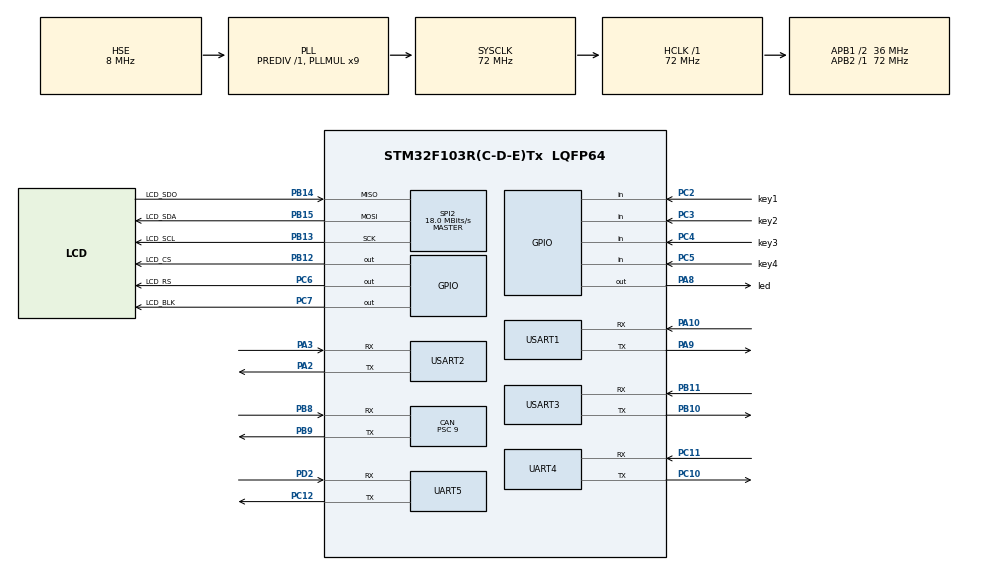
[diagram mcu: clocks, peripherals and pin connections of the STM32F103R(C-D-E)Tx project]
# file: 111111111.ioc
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CAN.BS1=CAN_BS1_4TQ
CAN.BS2=CAN_BS2_3TQ
CAN.CalculateBaudRate=500000
CAN.CalculateTimeBit=2000
CAN.CalculateTimeQuantum=250.0
CAN.NART=ENABLE
CAN.Prescaler=9
Dma.Request0=USART2_RX
Dma.Request1=USART2_TX
Dma.Request2=USART3_RX
Dma.Request3=USART3_TX
Dma.Request4=UART4_RX
Dma.Request5=UART4_TX
Dma.UART4_RX.4.Direction=DMA_PERIPH_TO_MEMORY
Dma.UART4_RX.4.Instance=DMA2_Channel3
Dma.UART4_RX.4.MemDataAlignment=DMA_MDATAALIGN_BYTE
Dma.UART4_RX.4.MemInc=DMA_MINC_ENABLE
Dma.UART4_RX.4.Mode=DMA_NORMAL
Dma.UART4_RX.4.PeriphDataAlignment=DMA_PDATAALIGN_BYTE
Dma.UART4_RX.4.PeriphInc=DMA_PINC_DISABLE
Dma.UART4_RX.4.Priority=DMA_PRIORITY_MEDIUM
Dma.UART4_TX.5.Direction=DMA_MEMORY_TO_PERIPH
Dma.UART4_TX.5.Instance=DMA2_Channel5
Dma.UART4_TX.5.MemDataAlignment=DMA_MDATAALIGN_BYTE
Dma.UART4_TX.5.MemInc=DMA_MINC_ENABLE
Dma.UART4_TX.5.Mode=DMA_NORMAL
Dma.UART4_TX.5.PeriphDataAlignment=DMA_PDATAALIGN_BYTE
Dma.UART4_TX.5.PeriphInc=DMA_PINC_DISABLE
Dma.UART4_TX.5.Priority=DMA_PRIORITY_MEDIUM
Dma.USART2_RX.0.Direction=DMA_PERIPH_TO_MEMORY
Dma.USART2_RX.0.Instance=DMA1_Channel6
Dma.USART2_RX.0.MemDataAlignment=DMA_MDATAALIGN_BYTE
Dma.USART2_RX.0.MemInc=DMA_MINC_ENABLE
Dma.USART2_RX.0.Mode=DMA_NORMAL
Dma.USART2_RX.0.PeriphDataAlignment=DMA_PDATAALIGN_BYTE
Dma.USART2_RX.0.PeriphInc=DMA_PINC_DISABLE
Dma.USART2_RX.0.Priority=DMA_PRIORITY_MEDIUM
Dma.USART2_TX.1.Direction=DMA_MEMORY_TO_PERIPH
Dma.USART2_TX.1.Instance=DMA1_Channel7
Dma.USART2_TX.1.MemDataAlignment=DMA_MDATAALIGN_BYTE
Dma.USART2_TX.1.MemInc=DMA_MINC_ENABLE
Dma.USART2_TX.1.Mode=DMA_NORMAL
Dma.USART2_TX.1.PeriphDataAlignment=DMA_PDATAALIGN_BYTE
Dma.USART2_TX.1.PeriphInc=DMA_PINC_DISABLE
Dma.USART2_TX.1.Priority=DMA_PRIORITY_MEDIUM
Dma.USART3_RX.2.Direction=DMA_PERIPH_TO_MEMORY
Dma.USART3_RX.2.Instance=DMA1_Channel3
Dma.USART3_RX.2.MemDataAlignment=DMA_MDATAALIGN_BYTE
Dma.USART3_RX.2.MemInc=DMA_MINC_ENABLE
Dma.USART3_RX.2.Mode=DMA_NORMAL
Dma.USART3_RX.2.PeriphDataAlignment=DMA_PDATAALIGN_BYTE
Dma.USART3_RX.2.PeriphInc=DMA_PINC_DISABLE
Dma.USART3_RX.2.Priority=DMA_PRIORITY_MEDIUM
Dma.USART3_TX.3.Direction=DMA_MEMORY_TO_PERIPH
Dma.USART3_TX.3.Instance=DMA1_Channel2
Dma.USART3_TX.3.MemDataAlignment=DMA_MDATAALIGN_BYTE
Dma.USART3_TX.3.MemInc=DMA_MINC_ENABLE
Dma.USART3_TX.3.Mode=DMA_NORMAL
Dma.USART3_TX.3.PeriphDataAlignment=DMA_PDATAALIGN_BYTE
Dma.USART3_TX.3.PeriphInc=DMA_PINC_DISABLE
Dma.USART3_TX.3.Priority=DMA_PRIORITY_MEDIUM
Mcu.Family=STM32F1
Mcu.Name=STM32F103R(C-D-E)Tx
Mcu.Package=LQFP64
NVIC.DMA1_Channel2_IRQn=true\:0\:0\:false\:false\:true\:false\:true
NVIC.DMA1_Channel3_IRQn=true\:0\:0\:false\:false\:true\:false\:true
NVIC.DMA1_Channel6_IRQn=true\:0\:0\:false\:false\:true\:false\:true
NVIC.DMA1_Channel7_IRQn=true\:0\:0\:false\:false\:true\:false\:true
NVIC.DMA2_Channel3_IRQn=true\:0\:0\:false\:false\:true\:false\:true
NVIC.DMA2_Channel4_5_IRQn=true\:0\:0\:false\:false\:true\:false\:true
NVIC.PriorityGroup=NVIC_PRIORITYGROUP_4
NVIC.TIM2_IRQn=true\:0\:0\:false\:false\:true\:true\:true
NVIC.TIM3_IRQn=true\:0\:0\:false\:false\:true\:true\:true
NVIC.TIM4_IRQn=true\:0\:0\:false\:false\:true\:true\:true
NVIC.TIM5_IRQn=true\:0\:0\:false\:false\:true\:true\:true
NVIC.TIM6_IRQn=true\:0\:0\:false\:false\:true\:true\:true
NVIC.UART4_IRQn=true\:0\:0\:false\:false\:true\:true\:true
NVIC.UART5_IRQn=true\:0\:0\:false\:false\:true\:true\:true
NVIC.USART1_IRQn=true\:0\:0\:false\:false\:true\:true\:true
NVIC.USART2_IRQn=true\:0\:0\:false\:false\:true\:true\:true
NVIC.USART3_IRQn=true\:0\:0\:false\:false\:true\:true\:true
NVIC.USB_LP_CAN1_RX0_IRQn=true\:0\:0\:false\:false\:true\:true\:true
PA10.Mode=Asynchronous
PA10.Signal=USART1_RX
PA13.Mode=Serial_Wire
PA13.Signal=SYS_JTMS-SWDIO
PA14.Mode=Serial_Wire
PA14.Signal=SYS_JTCK-SWCLK
PA2.Mode=Asynchronous
PA2.Signal=USART2_TX
PA3.Mode=Asynchronous
PA3.Signal=USART2_RX
PA8.GPIO_Label=led
PA8.GPIO_Speed=GPIO_SPEED_FREQ_MEDIUM
PA8.Signal=GPIO_Output
PA9.Mode=Asynchronous
PA9.Signal=USART1_TX
PB10.Mode=Asynchronous
PB10.Signal=USART3_TX
PB11.Mode=Asynchronous
PB11.Signal=USART3_RX
PB12.GPIO_Label=LCD_CS
PB12.Signal=GPIO_Output
PB13.GPIO_Label=LCD_SCL
PB13.Mode=Full_Duplex_Master
PB13.Signal=SPI2_SCK
PB14.GPIO_Label=LCD_SDO
PB14.Mode=Full_Duplex_Master
PB14.Signal=SPI2_MISO
PB15.GPIO_Label=LCD_SDA
PB15.Mode=Full_Duplex_Master
PB15.Signal=SPI2_MOSI
PB8.Mode=CAN_Activate
PB8.Signal=CAN_RX
PB9.Mode=CAN_Activate
PB9.Signal=CAN_TX
PC10.Mode=Asynchronous
PC10.Signal=UART4_TX
PC11.Mode=Asynchronous
PC11.Signal=UART4_RX
PC12.Mode=Asynchronous
PC12.Signal=UART5_TX
PC14-OSC32_IN.Mode=LSE-External-Oscillator
PC14-OSC32_IN.Signal=RCC_OSC32_IN
PC15-OSC32_OUT.Mode=LSE-External-Oscillator
PC15-OSC32_OUT.Signal=RCC_OSC32_OUT
PC2.GPIO_Label=key1
PC2.GPIO_PuPd=GPIO_PULLDOWN
PC2.Signal=GPIO_Input
PC3.GPIO_Label=key2
PC3.GPIO_PuPd=GPIO_PULLDOWN
PC3.Signal=GPIO_Input
PC4.GPIO_Label=key3
PC4.GPIO_PuPd=GPIO_PULLDOWN
PC4.Signal=GPIO_Input
PC5.GPIO_Label=key4
PC5.GPIO_PuPd=GPIO_PULLDOWN
PC5.Signal=GPIO_Input
PC6.GPIO_Label=LCD_RS
PC6.Signal=GPIO_Output
PC7.GPIO_Label=LCD_BLK
PC7.Signal=GPIO_Output
PD0-OSC_IN.Mode=HSE-External-Oscillator
PD0-OSC_IN.Signal=RCC_OSC_IN
PD1-OSC_OUT.Mode=HSE-External-Oscillator
PD1-OSC_OUT.Signal=RCC_OSC_OUT
PD2.Mode=Asynchronous
PD2.Signal=UART5_RX
ProjectManager.HeapSize=0x200
ProjectManager.StackSize=0x400
ProjectManager.TargetToolchain=MDK-ARM V5.27
RCC.AHBFreq_Value=72000000
RCC.APB1CLKDivider=RCC_HCLK_DIV2
RCC.APB1Freq_Value=36000000
RCC.APB1TimFreq_Value=72000000
RCC.APB2Freq_Value=72000000
RCC.APB2TimFreq_Value=72000000
RCC.HCLKFreq_Value=72000000
RCC.PLLMUL=RCC_PLL_MUL9
RCC.PLLSourceVirtual=RCC_PLLSOURCE_HSE
RCC.SYSCLKFreq_VALUE=72000000
RCC.SYSCLKSource=RCC_SYSCLKSOURCE_PLLCLK
RCC.USBFreq_Value=72000000
SPI2.CalculateBaudRate=18.0 MBits/s
SPI2.Direction=SPI_DIRECTION_2LINES
SPI2.Mode=SPI_MODE_MASTER
SPI2.VirtualType=VM_MASTER
TIM2.AutoReloadPreload=TIM_AUTORELOAD_PRELOAD_ENABLE
TIM2.Period=199
TIM2.Prescaler=7199
TIM3.AutoReloadPreload=TIM_AUTORELOAD_PRELOAD_ENABLE
TIM3.Period=499
TIM3.Prescaler=7199
TIM4.AutoReloadPreload=TIM_AUTORELOAD_PRELOAD_ENABLE
TIM4.Period=999
TIM4.Prescaler=7199
TIM5.AutoReloadPreload=TIM_AUTORELOAD_PRELOAD_ENABLE
TIM5.Period=999
TIM5.Prescaler=7199
UART4.VirtualMode=Asynchronous
UART5.VirtualMode=Asynchronous
USART1.VirtualMode=VM_ASYNC
USART2.VirtualMode=VM_ASYNC
USART3.VirtualMode=VM_ASYNC
VP_TIM2_VS_ClockSourceINT.Mode=Internal
VP_TIM3_VS_ClockSourceINT.Mode=Internal
VP_TIM4_VS_ClockSourceINT.Mode=Internal
VP_TIM5_VS_ClockSourceINT.Mode=Internal
VP_TIM6_VS_ClockSourceINT.Mode=Enable_Timer
board=custom

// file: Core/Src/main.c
/* USER CODE BEGIN Header */
/**
  ******************************************************************************
  * @file           : main.c
  * @brief          : Main program body
  ******************************************************************************
  * @attention
  *
  * <h2><center>&copy; Copyright (c) 2022 STMicroelectronics.
  * All rights reserved.</center></h2>
  *
  * This software component is licensed by ST under BSD 3-Clause license,
  * the "License"; You may not use this file except in compliance with the
  * License. You may obtain a copy of the License at:
  *                        opensource.org/licenses/BSD-3-Clause
  *
  ******************************************************************************
  */
/* USER CODE END Header */
#include "main.h"
#include "can.h"
#include "dma.h"
#include "spi.h"
#include "tim.h"
#include "usart.h"
#include "gpio.h"

/* USER CODE BEGIN Includes */
#include "lcd.h"
#include "math.h"
#include "servo.h"   //机械臂所在文件
#include "pid.h"
#include "motor.h"
#include "xunji.h"
#include "Deal.h"
#include "text.h"
/* USER CODE END Includes */

void SystemClock_Config(void);

/* USER CODE BEGIN 0 */
int16_t speed_data[4];   //电机速度存放数组
int16_t speed_data1[4];  //电机速度存放数组
int16_t motor_msg[4];    //电机速度存放数组
int x=0,y=0,yw=0;        //电机xy速度值与旋转分量，用于麦轮解算时输入速度分量

int i=0; 				 //电机速度定义与CAN发送数据的循环变量

int16_t v_back[4]={0};       //CAN线电机返回值，接收电机驱动返回的相对速度
int16_t bianmaqi_back[4];    //编码器返回数组
uint8_t message[7][8]={0};   //can发送数据的存放数组
int ID[4]={0x00210010,0x00220010,0x00230010,0x00240010};  //ID号数组前四位为电机ID号

int servo_x = 120,servo_y = 150,servo_z = 1500,zhua = 0;  //初始机械臂位置
int Three[3] = {0,0,0};                    //储存摄像头传入的物块三维坐标x,y,z
char Color[3]; 											  //物块颜色
uint8_t QR_code_Order[6] = {0,0,0,0,0,0}; 					  //二维码上的抓取顺序（两组顺序，例123+321）
uint8_t pData[30] = {0};

//迷宫变量定义
int xunji_count[4];		  //寻迹返回，存放寻迹灰度返回个数
int xunji[4];			  //寻迹返回值存放，4路 ，8寻迹值在0-255之间，对应1字节
int xunji_flag[4]={0};	  //寻迹标志位，用于迷宫解算时标志哪边先碰线，以此更改自身坐标

//串口2维码变量定义
int len[5]={0};
uint8_t USART1_RX_BUF[200];  //串口数据接收
uint8_t USART2_RX_BUF[200];  //串口数据接收
uint8_t USART3_RX_BUF[200];  //串口数据接收
uint8_t USART4_RX_BUF[200];  //串口数据接收
uint8_t USART5_RX_BUF[200];  //串口数据接收

int tof[3]={0};              //tof数据存放数组 单位cm
int tof_adj[3]={0};			 //tof数据滤波后存放，但因回传速率不够等暂停使用
int tof_count[3] = {0};
int tof_sum[3] ={0};

int yaw_931=0; 				 //陀螺仪返回数据

int suduout[2];				 //寻迹pid输出
pid_struct_t xun_pid[4];     //寻迹pid结构体
int xun_flag=0; 			 //寻迹标志位，由前后左右移控制，对应寻迹时的判断及寻迹pid引起的速度变化

////四个8路寻迹   黑白结构体，用来判断小车移动过线
Heibai heibai_1={0,0,0,0,0};
Heibai heibai_2={0,0,0,0,0};
Heibai heibai_3={0,0,0,0,0};
Heibai heibai_4={0,0,0,0,0};

//暂时没用											// 大概500个脉冲前进1格，400个脉冲电机转动一圈
car_count count_InitAera={0,0,0,0,700,1};    	 	//出发位置
car_count count_QRCodeAera={0,0,0,0,1000,3};  		//2维码位置
car_count count_RawMaterialArea={0,0,0,0,1900,3};   //原料区
car_count count_firstconor1={0,0,0,0,250,3};  	    //原料区向粗加工区转弯1
car_count count_firstconor2={0,0,0,0,500,5};   	    //原料区向粗加工区转弯2
car_count count_ProcessingAera={0,0,0,0,1200,3};    //粗加工区中心物料地址
car_count count_secondconor1={0,0,0,0,1250,3};      //粗加工区向完成区转弯1
car_count count_secondconor2={0,0,0,0,610,5};    	//粗加工区向完成区转弯2
car_count count_FinishedAera={0,0,0,0,1250,3};  	//完成区中心物料地址
car_count count_third1conor={0,0,0,0,2500,1};    	//完成区返回原料区1
car_count count_third2conor={0,0,0,0,1250,5};    	//完成区返回原料区2
car_count count_third3conor={0,0,0,0,1100,3};    	//完成区返回原料区3
car_count now={0,0,0,0,0,0}; 						//实时脉冲
car_count last={0,0,0,0,0,0}; 						//上次脉冲数
car_count zuoyi_one={0,0,0,0,500,3};
car_count zero={0,0,0,0,0,1};
car_count qianjing_half={0,0,0,0,250,7};
car_count tui_half={0,0,0,0,250,2};
car_count xuanzhuan90={0,0,0,0,600,5};
car_count tui_half_half={0,0,0,0,150,2};

//定时器，用于小车旋转
int time_compare[3]={32,30,30};
int time=0;
int time_flag[3] = {1,1,1};

//定点
Point Point_0={0,0,0};
Point Point_1={2,0,0};
Point Point_2={6,0,0};
Point Point_3={8,0,0};
Point Point_4={10,0,0};
Point Point_5={12,0,0};
Point Point_6={12,4,0};
Point Point_7={14,4,0};

Point Point_8={0,0,0};
Point Point_9={3,0,0};
Point Point_10={0,0,0};

Point car={0,0,0};

//舵机运行动作组
//二维码区
uint8_t ER_go[8] = {4,0,0,0,0,0,0,0}; //0位为动作组运行开始与结束  2位为动作组编号
uint8_t ER_stop[8] = {8,0,0,0,0,0,0,0};  // 1位为4开始运行，为8，停止运行
uint8_t ER_back[8] = {4,0,1,0,0,0,0,0};
uint8_t ER_back_stop[8] = {8,0,1,0,0,0,0,0};
//原料区
//上层
uint8_t first_left_up[8] = {4,0,2,0,0,0,0,0}; //0位为动作组运行开始与结束  2位为动作组编号
uint8_t first_left_up_done[8] = {8,0,2,0,0,0,0,0}; //0位为动作组运行开始与结束  2位为动作组编号
uint8_t first_middle_up[8] = {4,0,3,0,0,0,0,0}; //0位为动作组运行开始与结束  2位为动作组编号
uint8_t first_middle_up_done[8] = {8,0,3,0,0,0,0,0}; //0位为动作组运行开始与结束  2位为动作组编号
uint8_t first_right_up[8] = {4,0,4,0,0,0,0,0}; //0位为动作组运行开始与结束  2位为动作组编号
uint8_t first_right_up_done[8] = {8,0,4,0,0,0,0,0}; //0位为动作组运行开始与结束  2位为动作组编号
//下层
uint8_t first_left_down[8] = {4,0,5,0,0,0,0,0}; //0位为动作组运行开始与结束  2位为动作组编号
uint8_t first_left_down_done[8] = {8,0,5,0,0,0,0,0}; //0位为动作组运行开始与结束  2位为动作组编号
uint8_t first_middle_down[8] = {4,0,6,0,0,0,0,0}; //0位为动作组运行开始与结束  2位为动作组编号
uint8_t first_middle_down_done[8] = {8,0,6,0,0,0,0,0}; //0位为动作组运行开始与结束  2位为动作组编号
uint8_t first_right_down[8] = {4,0,7,0,0,0,0,0}; //0位为动作组运行开始与结束  2位为动作组编号
uint8_t first_right_down_done[8] = {8,0,7,0,0,0,0,0}; //0位为动作组运行开始与结束  2位为动作组编号

//粗加工区
uint8_t second_left[8] = {4,0,8,0,0,0,0,0}; //0位为动作组运行开始与结束  2位为动作组编号
uint8_t second_left_done[8] = {8,0,8,0,0,0,0,0}; //0位为动作组运行开始与结束  2位为动作组编号
uint8_t second_middle[8] = {4,0,9,0,0,0,0,0}; //0位为动作组运行开始与结束  2位为动作组编号
uint8_t second_middle_done[8] = {8,0,9,0,0,0,0,0}; //0位为动作组运行开始与结束  2位为动作组编号
uint8_t second_right[8] = {4,0,10,0,0,0,0,0}; //0位为动作组运行开始与结束  2位为动作组编号
uint8_t second_right_done[8] = {8,0,10,0,0,0,0,0}; //0位为动作组运行开始与结束  2位为动作组编号

//成品区

//下层
uint8_t third_left_up[8] = {4,0,11,0,0,0,0,0}; //0位为动作组运行开始与结束  2位为动作组编号
uint8_t third_left_up_done[8] = {8,0,11,0,0,0,0,0}; //0位为动作组运行开始与结束  2位为动作组编号
uint8_t third_middle_up[8] = {4,0,12,0,0,0,0,0}; //0位为动作组运行开始与结束  2位为动作组编号
uint8_t third_middle_up_done[8] = {8,0,12,0,0,0,0,0}; //0位为动作组运行开始与结束  2位为动作组编号
uint8_t third_right_up[8] = {4,0,13,0,0,0,0,0}; //0位为动作组运行开始与结束  2位为动作组编号
uint8_t third_right_up_done[8] = {8,0,13,0,0,0,0,0}; //0位为动作组运行开始与结束  2位为动作组编号
//码垛
uint8_t third_left_down[8] = {4,0,14,0,0,0,0,0}; //0位为动作组运行开始与结束  2位为动作组编号
uint8_t third_left_down_done[8] = {8,0,14,0,0,0,0,0}; //0位为动作组运行开始与结束  2位为动作组编号
uint8_t third_middle_down[8] = {4,0,15,0,0,0,0,0}; //0位为动作组运行开始与结束  2位为动作组编号
uint8_t third_middle_down_done[8] = {8,0,15,0,0,0,0,0}; //0位为动作组运行开始与结束  2位为动作组编号
uint8_t third_right_down[8] = {4,0,16,0,0,0,0,0}; //0位为动作组运行开始与结束  2位为动作组编号
uint8_t third_right_down_done[8] = {8,0,16,0,0,0,0,0}; //0位为动作组运行开始与结束  2位为动作组编号

uint16_t  k210_state = 0;

//15, 15, 500,0,'F'
double K_X = 15, K_Y = 15, K_ser =600,K_1 = 0;
uint8_t K_2 = 1;
/*
与k210的数据接收

1.
	摄像头上电，车子MCU state状态为0，开启12位串口接收中断
2.
	车子移动到指定位置，通过串口5发送123给k210，
3.
	k210返回数据给MCU，在串口中断回调里面进行处理，若成功接收到数据，则state状态为1，并开启下一次串口接收中断
若没有接收到数据，则继续发送123
4.
	根据二维码的数据，进行抓取时的顺序处理
定义
	红 111
	绿 222
	蓝 333
	如果接收到二维码是   123+123

	则先通过串口发送111给k210，k210返回红色物块的XY坐标和距离

	MCU每发送111请求一次，k210返回一次，串口对其数据进行处理，判断坐标是否在中心位置
	若在则改变状态state为2，若不在则state仍为1，同时请求下一次发送，建议发送的间隔在100ms

	state为2后，串口发送222，后面同上

*/

Point Point0={0,0,0};
Point Point1={2,0,0};
Point Point2={5,0,0};
Point Point3={7,0,0};
/* USER CODE END 0 */

int main(void)
{

  /* MCU Configuration--------------------------------------------------------*/

  /* Reset of all peripherals, Initializes the Flash interface and the Systick. */
  HAL_Init();

  /* Configure the system clock */
  SystemClock_Config();

  /* Initialize all configured peripherals */
  MX_DMA_Init();
  MX_GPIO_Init();
  MX_USART2_UART_Init();
  MX_USART1_UART_Init();
  MX_USART3_UART_Init();
  MX_CAN_Init();
  MX_SPI2_Init();
  MX_UART4_Init();
  MX_UART5_Init();
  MX_TIM2_Init();
  MX_TIM3_Init();
  MX_TIM4_Init();
  MX_TIM5_Init();
  MX_TIM6_Init();
  /* USER CODE BEGIN 2 */

//  HAL_UART_Receive_IT (&huart5,USART5_RX_BUF ,12);	//串口接收中断，接收陀螺仪数据
  LCD_Init ();		  //LCD初始化
  motor_pid_init();   //电机pid初始化
  xun_pid_init(); 	  //寻迹pid初始化
  CAN_filter_Init();  //CAN过滤器初始化

  HAL_TIM_Base_Start_IT(&htim2 ); //定时器2与3中断开启
  HAL_TIM_Base_Start_IT(&htim3 );
  /* USER CODE END 2 */

  /* Infinite loop */
  while (1)
  {

	/* USER CODE BEGIN 3 */
	LCD_ShowNum (0,0,0,3,16,BLACK );

	while(tof[2] < 8)  //移动
	{
		youyi_total();
	 }

	while( (( (tof[0] + tof[1]) / 2) < 30)  )
	{
		if(( (tof[0] + tof[1]) / 2) < 30)
		{
			qianjin_total();
		}
		LCD_ShowNum (20,200,tof[0],3,16,BLACK );
		LCD_ShowNum (90,200,tof[1],3,16,BLACK );
		LCD_ShowNum (160,200,tof[2],3,16,BLACK );
	}

	while ((xunji[1] < 15 || xunji [1] > 30) && (xunji[3] < 15 || xunji [3] > 30))
	{
		if((xunji [1] < 15) && (xunji[3] < 15 ))
		{
			qianjin_half();
		}
		else if((xunji [1] > 30) && (xunji[3] > 30 ))
		{
			houtui_half ();
		}
	}

	migong_gezi(Point0 ,Point1 ); //移动二维码区
	speed_stop();
	motor_send ();
	HAL_Delay (1000);

	migong_gezi(Point1 ,Point2 );  //移动物料区
	while ((xunji[0] < 15 || xunji [0] > 30) && (xunji[2] < 15 || xunji [2] > 30)) //物料区位置微调
	{
		if((xunji [0] < 15) && (xunji[2] < 15 ))
		{
			youyi_half();
		}
		if((xunji [0] < 15) && (xunji[2] > 30 ))
		{
			zuoyi_half();
		}
		else
		{
			youyi_half();
		}
	}
	speed_stop();
	motor_send ();
	HAL_Delay (200);

	while ((xunji[0] < 15 || xunji [0] > 30) && (xunji[2] < 15 || xunji [2] > 30)) //物料区位置微调
	{
		if((xunji [0] < 15) && (xunji[2] > 30 ))
		{
			zuoyi_half();
		}
		else
		{
			youyi_half();
		}
	}

	while ((xunji[1] < 40 || xunji [1] > 80) && (xunji[3] < 40 || xunji [3] > 80)) //物料区位置微调
	{
		if((xunji [1] < 40) && (xunji[3] > 80 ))
		{
			qianjin_half();
		}
		else
		{
			houtui_half();
		}
	}
	HAL_Delay(300);

	time = 0;  //旋转
	time_flag[0] = 1;
	HAL_TIM_Base_Start_IT(&htim4 );
	while(time_flag[0])
	{
		speed_set_without_pid(0,0,3);
		motor_send();
	}
	HAL_TIM_Base_Stop_IT (&htim4 );
	speed_stop ();

	migong_gezi(Point2,Point3);  //粗加工区
	while ((xunji[0] < 15 || xunji [0] > 30) && (xunji[2] < 15 || xunji [2] > 30)) //物料区位置微调
	{
		if((xunji [0] < 15) && (xunji[2] < 15 ))
		{
			youyi_half();
		}
		if((xunji [0] < 15) && (xunji[2] > 30 ))
		{
			zuoyi_half();
		}
		else
		{
			youyi_half();
		}
	}
	speed_stop();
	motor_send ();
	HAL_Delay (200);

	while ((xunji[0] < 15 || xunji [0] > 30) && (xunji[2] < 15 || xunji [2] > 30)) //物料区位置微调
	{
		if((xunji [0] < 15) && (xunji[2] > 30 ))
		{
			zuoyi_half();
		}
		else
		{
			youyi_half();
		}
	}

	while ((xunji[1] < 40 || xunji [1] > 80) && (xunji[3] < 40 || xunji [3] > 80)) //物料区位置微调
	{
		if((xunji [1] < 40) && (xunji[3] > 80 ))
		{
			qianjin_half();
		}
		else
		{
			houtui_half();
		}
	}

	while(1)  //程序运行卡死
	{
		LCD_ShowNum (20,200,tof[0],3,16,BLACK );
		LCD_ShowNum (90,200,tof[1],3,16,BLACK );
		LCD_ShowNum (160,200,tof[2],3,16,BLACK );

	}

  }
  /* USER CODE END 3 */
}

void SystemClock_Config(void)
{
  RCC_OscInitTypeDef RCC_OscInitStruct = {0};
  RCC_ClkInitTypeDef RCC_ClkInitStruct = {0};

  /** Initializes the RCC Oscillators according to the specified parameters
  * in the RCC_OscInitTypeDef structure.
  */
  RCC_OscInitStruct.OscillatorType = RCC_OSCILLATORTYPE_HSE;
  RCC_OscInitStruct.HSEState = RCC_HSE_ON;
  RCC_OscInitStruct.HSEPredivValue = RCC_HSE_PREDIV_DIV1;
  RCC_OscInitStruct.HSIState = RCC_HSI_ON;
  RCC_OscInitStruct.PLL.PLLState = RCC_PLL_ON;
  RCC_OscInitStruct.PLL.PLLSource = RCC_PLLSOURCE_HSE;
  RCC_OscInitStruct.PLL.PLLMUL = RCC_PLL_MUL9;
  if (HAL_RCC_OscConfig(&RCC_OscInitStruct) != HAL_OK)
  {
    Error_Handler();
  }
  /** Initializes the CPU, AHB and APB buses clocks
  */
  RCC_ClkInitStruct.ClockType = RCC_CLOCKTYPE_HCLK|RCC_CLOCKTYPE_SYSCLK
                              |RCC_CLOCKTYPE_PCLK1|RCC_CLOCKTYPE_PCLK2;
  RCC_ClkInitStruct.SYSCLKSource = RCC_SYSCLKSOURCE_PLLCLK;
  RCC_ClkInitStruct.AHBCLKDivider = RCC_SYSCLK_DIV1;
  RCC_ClkInitStruct.APB1CLKDivider = RCC_HCLK_DIV2;
  RCC_ClkInitStruct.APB2CLKDivider = RCC_HCLK_DIV1;

  if (HAL_RCC_ClockConfig(&RCC_ClkInitStruct, FLASH_LATENCY_2) != HAL_OK)
  {
    Error_Handler();
  }
}

/* USER CODE BEGIN 4 */
void correct(int Three[3])
{
//	LCD_ShowNum (180,0,K_ser ,3,16,BLACK );

	if (Three[1] > 200)
	{
		K_ser = K_ser + 25;
//		Kinematic_Analysis(x, y, ser,0,'F');
	}
	else if(Three[1] < 100)
	{
		K_ser = K_ser - 25;
//		Kinematic_Analysis(x, y, ser,0,'F');
	}

}

void k210_handle(void)
{
	switch(k210_state)
	{
		case 1:
			switch(QR_code_Order[0])
			{
				case 1:
					HAL_UART_Receive_IT(&huart5, USART5_RX_BUF ,12); //接收摄像头数据
					HAL_UART_Transmit (&huart5 ,"111",3,0xff);
					break;
				case 2:
					HAL_UART_Receive_IT(&huart5, USART5_RX_BUF ,12); //接收摄像头数据
					HAL_UART_Transmit (&huart5 ,"222",3,0xff);
					break;
				case 3:
					HAL_UART_Receive_IT(&huart5, USART5_RX_BUF ,12); //接收摄像头数据
					HAL_UART_Transmit (&huart5 ,"333",3,0xff);
					break;
			}
			break ;
		case 2:
			switch(QR_code_Order[1])
			{
				case 1:
					HAL_UART_Receive_IT(&huart5, USART5_RX_BUF ,12); //接收摄像头数据
					HAL_UART_Transmit (&huart5 ,"111",3,0xff);
					break;
				case 2:
					HAL_UART_Receive_IT(&huart5, USART5_RX_BUF ,12); //接收摄像头数据
					HAL_UART_Transmit (&huart5 ,"222",3,0xff);
					break;
				case 3:
					HAL_UART_Receive_IT(&huart5, USART5_RX_BUF ,12); //接收摄像头数据
					HAL_UART_Transmit (&huart5 ,"333",3,0xff);
					break;
			}
			break ;
		case 3:
			switch(QR_code_Order[2])
			{
				case 1:
					HAL_UART_Receive_IT(&huart5, USART5_RX_BUF ,12); //接收摄像头数据
					HAL_UART_Transmit (&huart5 ,"111",3,0xff);
					break;
				case 2:
					HAL_UART_Receive_IT(&huart5, USART5_RX_BUF ,12); //接收摄像头数据
					HAL_UART_Transmit (&huart5 ,"222",3,0xff);
					break;
				case 3:
					HAL_UART_Receive_IT(&huart5, USART5_RX_BUF ,12); //接收摄像头数据
					HAL_UART_Transmit (&huart5 ,"333",3,0xff);
					break;
			}
			break ;

	}
}
void count(Heibai *Heibaix ,int p) //单线 以单线为点，进行运动判断
{
	Heibaix->count =xunji_count [p];
	if(Heibaix->count >= 5)
	{
		Heibaix->xun_startflag = 1;
	}
	if((Heibaix->xun_startflag == 1) && (Heibaix->count <= 2))
	{
		Heibaix->xun_endflag =1;

	}
	if((Heibaix->xun_endflag ==1 ) && (Heibaix->xun_startflag ==1))
	{
		Heibaix->xun_countflag =1;
		Heibaix->xun_endflag =0;
		Heibaix->xun_startflag =0;
	}

}

void count_middle1(void)  //y轴 每过一单线，相应坐标加1
{

	count (&heibai_1 ,0);
	count (&heibai_3 ,2);

	if((xunji_flag [1] == 1) && (heibai_3 .xun_countflag == 1) && (xunji [1] >= 15))
	{
		car.y ++;
		heibai_3 .xun_countflag  = 0;
	}
	else if((xunji_flag [1] == 2) && (heibai_1 .xun_countflag == 1) && (xunji [1] >= 15))
	{
		car.y --;
		heibai_1 .xun_countflag  = 0;
	}
}

void count_middle2(void)  //x轴 每过一单线，相应坐标加1
{
	count (&heibai_2 ,1);

	if((xunji_flag [0] == 1) && (heibai_2 .xun_countflag == 1) && (xunji [2] >= 15))
	{
		car.x ++;
		heibai_2 .xun_countflag  = 0;
	}

}
void count_middle3(void)  //x轴 每过一单线，相应坐标加1
{
	count (&heibai_4 ,3);

	if((xunji_flag [0] == 2) && (heibai_4 .xun_countflag == 1) && (xunji [2] >= 15))
	{
		car.x --;
		heibai_4 .xun_countflag  = 0;
	}
}
void migong_gezi(Point now, Point next)  //迷宫格子  基于双线
{
	if((next .y - now .y)  > 0)
	{
		xunji_flag [1]=1;
		while(now.y != next .y )
		{
			now .y =car.y ;

			qianjin ();
			motor_send ();
			count_2 ();
		}

	}
	else
	{
		xunji_flag [1]=2;
		while(now.y != next .y )
		{
			now .y =car.y ;
			houtui ();
			motor_send ();
			count_2 ();
		}

	}

	if((next.x - now.x) > 0 )
	{
		xunji_flag [0]=1;
		while(now .x != next .x )
		{
			now.x =car .x ;
			youyi ();
			motor_send ();
			count_1 ();
		}
	}
	else
	{
		xunji_flag [0]=2;
		while(now .x != next .x)
		{
			now.x = car .x ;
			zuoyi ();
			motor_send ();
			count_1 ();
		}
	}

}

void migong_line(Point now, Point next)  //迷宫线  基于单线
{
	if((next .y - now .y)  > 0)
	{
		xunji_flag [1]=1;
		while(now.y != next .y )
		{
			now .y =car.y ;
			qianjin ();
			motor_send ();
			count_middle1 ();
		}

	}

	else
	{
		xunji_flag [1]=2;
		while(now.y != next .y )
		{
			now .y =car.y ;
			houtui ();
			motor_send ();
			count_middle1 ();
		}

	}

	if((next.x - now.x) > 0 )
	{
		xunji_flag [0]=1;
		while(now .x != next .x )
		{
			now.x =car .x ;
			youyi ();
			motor_send ();
			count_middle2 ();
		}
	}
	else
	{
		xunji_flag [0]=2;
		while(now .x != next .x)
		{
			now.x = car .x ;
			zuoyi ();
			motor_send ();
			count_middle3 ();
		}
	}

}

void count_1(void)  //双线x 每过一格，相应坐标加1
{

	count (&heibai_2 ,1);
	count (&heibai_4 ,3);

	if((heibai_2 .xun_countflag ==1) && (heibai_4 .xun_countflag == 1))
	{
		if(xunji_flag [0] ==1)
		{
			car.x ++;
		}
		else
		{
			car.x --;
		}
		heibai_2 .xun_countflag =0;
		heibai_4 .xun_countflag =0;
	}
}

void count_2(void)  //双线y 每过一格，相应坐标加1
{

	count (&heibai_1 ,0);
	count (&heibai_3 ,2);

	if((heibai_1 .xun_countflag ==1) && (heibai_3 .xun_countflag == 1))
	{

		if(xunji_flag [1] ==1)
		{
			car.y ++;
		}
		else
		{
			car.y --;
		}
		heibai_1 .xun_countflag =0;
		heibai_3 .xun_countflag =0;
	}

}
void HAL_TIM_PeriodElapsedCallback(TIM_HandleTypeDef *htim)  //定时器中断回传
{
	if(htim == &htim2 )   //200ms 进行寻迹pid及速度纠正
	{
		xunxian_pid(xun_flag);
//		Kinematic_Analysis(K_X, K_Y, K_ser,K_1,K_2);

	}
	if(htim == &htim3)    //50ms 进行tof接收 每50ms进行DMA中断刷新
	{
		DMA_receive2 ();  //DMA接收，下同
		DMA_receive3 ();
		DMA_receive4 ();
		tof_handle ();	  //接收数据处理
	}
	if(htim == &htim4)	  //转向时时间计算
	{
		int kk=0;
		time++;
		for(kk=0;kk<3;kk++)
		{
			if(time == time_compare[ kk])
			{
				time_flag[kk]= 0;
			}
		}
	}
	if(htim == &htim5)	  //k210
	{
		k210_handle();
	}

}
void tof_handle(void)     //tof数据处理
{
	if(USART2_RX_BUF[26] == ' ')
	{
		if(USART2_RX_BUF [27] == ' ')
		{
			USART2_RX_BUF [26] =0;
			USART2_RX_BUF [27] =0;
		}
		else
		{
			USART2_RX_BUF [26] =0;
			USART2_RX_BUF [27] =USART2_RX_BUF [27] - '0';
		}
	}
	tof[0] = USART2_RX_BUF [26] *100 + USART2_RX_BUF [27] * 10 + (USART2_RX_BUF[28] - '0');
	tof[0] = tof[0] - 2;
	if(USART3_RX_BUF[26] == ' ')
	{
		if(USART3_RX_BUF [27] == ' ')
		{
			USART3_RX_BUF [26] =0;
			USART3_RX_BUF [27] =0;
		}
		else
		{
			USART3_RX_BUF [26] =0;
			USART3_RX_BUF [27] =USART3_RX_BUF [27] - '0';
		}
	}
	tof[1] = USART3_RX_BUF [26] *100 + USART3_RX_BUF [27] * 10 + (USART3_RX_BUF[28] - '0');
	tof[1] = tof[1] - 4;
	if(USART4_RX_BUF[26] == ' ')
	{
		if(USART4_RX_BUF [27] == ' ')
		{
			USART4_RX_BUF [26] =0;
			USART4_RX_BUF [27] =0;
		}
		else
		{
			USART4_RX_BUF [26] =0;
			USART4_RX_BUF [27] =USART4_RX_BUF [27] - '0';
		}
	}
	tof[2] = USART4_RX_BUF [26] *100 + USART4_RX_BUF [27] * 10 + (USART4_RX_BUF[28] - '0');
}

void xun_pid_init(void)   //巡线速度pid初始化
{
	pid_init(&xun_pid[0],-3, 0, 2, 2000, 2000);
	pid_init(&xun_pid[1],-3, 0, 2.1, 2000, 2000);
	pid_init(&xun_pid[2],-3, 0, 2, 2000, 2000);
	pid_init(&xun_pid[3],-3, 0, 2.1, 2000, 2000);
}

void xunxian_pid(int xx)  //寻迹pid，对寻迹的返回值进行比例处理
{

	switch (xx)
	{
		case 1:
				if(xunji [0] > 24)
				{
					xun_pid[0].kp = -1.5;
				}
				else
				{
					xun_pid[0].kp =-3;
				}
				suduout[0]  = (int16_t)pid_calc1(&xun_pid[0], 24, xunji[0]);
				suduout[1]  = (int16_t)pid_calc1(&xun_pid[2], 24, xunji[2]);
				break ;
		case 2:
				if((xunji [1] > 24) || (xunji[3] > 24))
				{
					xun_pid[1].kp = -2.4;
					xun_pid[3].kp = -2.4;

				}
				else
				{
					xun_pid[1].kp = -3.5;
					xun_pid[3].kp = -3.5;
				}
				if( (xunji[1] > 220) ||  (xunji[3] > 220))
				{
					break ;
				}
				suduout[0]  = (int16_t)pid_calc1(&xun_pid[1], 24, xunji[1]);
				suduout[1]  = (int16_t)pid_calc1(&xun_pid[3], 24, xunji[3]);

				break ;
		case 3:
				if((xunji [0] > 24) || (xunji[2] > 24))
				{
					xun_pid[0].kp = -2.5;
					xun_pid[2].kp = -2.5;
				}
				else
				{
					xun_pid[0].kp =-4.2;
					xun_pid[2].kp =-4.2;
				}
				if( (xunji[0] > 220) ||  (xunji[2] > 220))
				{
					break ;
				}

				suduout[0]  = (int16_t)pid_calc1(&xun_pid[2], 24, xunji[2]);
				suduout[1]  = (int16_t)pid_calc1(&xun_pid[0], 24, xunji[0]);
				break ;
		case 4:
				if(xunji [3] > 24)
				{
					xun_pid[3].kp = -2;
				}
				else
				{
					xun_pid[3].kp =-3;
				}

				suduout[0]  = (int16_t)pid_calc1(&xun_pid[3], 24, xunji[3]);
				suduout[1]  = (int16_t)pid_calc1(&xun_pid[1], 24, xunji[1]);

				break ;

		case 5:
				if(xunji [0] > 24)
				{
					xun_pid[0].kp = -2;
				}
				else
				{
					xun_pid[0].kp =-3;
				}
				adj[0] = (int16_t)pid_calc1(&xun_pid[0], 24, xunji[0]);
				adj[1] = (int16_t)pid_calc1(&xun_pid[0], 24, xunji[2]);
				break ;
		case 6:
				if(xunji [1] > 24)
				{
					xun_pid[1].kp = -2;
				}
				else
				{
					xun_pid[1].kp =-3;
				}
				adj[0] = (int16_t)pid_calc1(&xun_pid[1], 24, xunji[1]);
				adj[1] = (int16_t)pid_calc1(&xun_pid[1], 24, xunji[3]);
				break ;

	}

}
void HAL_UART_RxCpltCallback(UART_HandleTypeDef *huart)  //接收中断回调
{
	if(huart == &huart5 )
	{
		Dael_Coordinate(USART5_RX_BUF);
	}
}

int fputc(int ch ,FILE *f)  //printf重定义
{
	uint8_t temp[1] = {ch};
	HAL_UART_Transmit(&huart3, temp, 1, 2); //huart1需要根据你的配置修改
	return ch;
}

void DMA_receive2(void)
{
	int j=0;

	if(recv_end_flag2 == 1)
	{
		if(rx_len2 == 35)
		{
			for(j=0;j<rx_len2;j++)
			{
				USART2_RX_BUF[j]=rx_buffer2[j];
			}
		}
//		len[2] = rx_len2 ;
		rx_len2 = 0;
		recv_end_flag2 = 0;
	}
	HAL_UART_Receive_DMA(&huart2,rx_buffer2,200);
}
void DMA_receive3(void)
{
	int n=0;
	if(recv_end_flag3 == 1)
	{
		if(rx_len3 == 35)
		{
			for(n=0;n<rx_len3;n++)
			{
				USART3_RX_BUF[n]=rx_buffer3[n];
			}
		}
//		len[3] = rx_len3 ;
		rx_len3 = 0;
		recv_end_flag3 = 0;
	}

//	while(HAL_UART_GetState(&huart2 )== HAL_UART_STATE_BUSY_TX );
//	HAL_UART_Transmit (&huart2 ,"12345678" ,8,0xff);
	HAL_UART_Receive_DMA(&huart3,rx_buffer3,200);

}
void DMA_receive4(void)
{
	int m=0;
	if(recv_end_flag4 == 1)
	{
		if(rx_len4 == 35)
		{
			for(m=0;m<rx_len4;m++)
			{
				USART4_RX_BUF[m]=rx_buffer4[m];
			}
		}
//		len[4] = rx_len4 ;
		rx_len4 = 0;
		recv_end_flag4 = 0;
	}
//	while(HAL_UART_GetState(&huart5 )== HAL_UART_STATE_BUSY_TX );
//	HAL_UART_Transmit (&huart5 ,usart4 ,30,0xffff);

	HAL_UART_Receive_DMA(&huart4,rx_buffer4,200);

}

void qianjin_half(void)
{
	xun_flag = 3;
	speed_data [0]=-100+(suduout[0]+suduout [1]) / 4;
	speed_data [1]=-100+(suduout[0]+suduout [1]) / 4;
	speed_data [2]=100+(suduout[0]+suduout [1]) / 4;
	speed_data [3]=100+(suduout[0]+suduout [1]) / 4;

	for(i=0;i<4;i++)
	{
		motor_msg[i]=speed_data[i] + 32000;
		message[i][0]=motor_msg[i] %256;
		message[i][1]=motor_msg[i] /256;
	}
	motor_send ();
}
void houtui_half(void)  //half 为寻迹移动，但速度较慢
{
	xun_flag =3;
	speed_data [0]=50+(suduout[0]+suduout [1]) / 4;
	speed_data [1]=50+(suduout[0]+suduout [1]) / 4;
	speed_data [2]=-50+(suduout[0]+suduout [1]) / 4;
	speed_data [3]=-50+(suduout[0]+suduout [1]) / 4;

	for(i=0;i<4;i++)
	{
		motor_msg[i]=speed_data[i] + 32000;
		message[i][0]=motor_msg[i] %256;
		message[i][1]=motor_msg[i] /256;
	}
	motor_send ();
}
void zuoyi_half(void)
{
	xun_flag =2;
	speed_data [0]=50+(suduout[0]+suduout [1]) / 4;
	speed_data [1]=-50+(suduout[0]+suduout [1]) / 4;
	speed_data [2]=-50+(suduout[0]+suduout [1]) / 4;
	speed_data [3]=50+(suduout[0]+suduout [1]) / 4;

	for(i=0;i<4;i++)
	{
		motor_msg[i]=speed_data[i] + 32000;
		message[i][0]=motor_msg[i] %256;
		message[i][1]=motor_msg[i] /256;
	}
	motor_send ();

}
void youyi_half()
{
	xun_flag =2;
	speed_data [0]=-50+(suduout[0]+suduout [1]) / 4;
	speed_data [1]=50+(suduout[0]+suduout [1]) /4;
	speed_data [2]=50+(suduout[0]+suduout [1]) / 4;
	speed_data [3]=-50+(suduout[0]+suduout [1]) / 4;

	for(i=0;i<4;i++)
	{
		motor_msg[i]=speed_data[i] + 32000;
		message[i][0]=motor_msg[i] %256;
		message[i][1]=motor_msg[i] /256;
	}
	motor_send ();

}
void qianjin_total(void) //total为直接移动
{
	speed_set (0,-250,0);
	motor_send ();

}
void houtui_total(void)
{
	speed_set (0,150,0);
	motor_send ();

}

void youyi_total(void)
{
	xun_flag =2;
	speed_data [0]=-100;
	speed_data [1]=100;
	speed_data [2]=100;
	speed_data [3]=-100;

	for(i=0;i<4;i++)
	{
		motor_msg[i]=speed_data[i] + 32000;
		message[i][0]=motor_msg[i] %256;
		message[i][1]=motor_msg[i] /256;
	}
	motor_send ();
}
void adjust(void)  		 //tof的校准，通过两个tof的距离差进行自转纠正
{
	int yyy;
	int err;

	err = tof[0] - tof[1];
	if(err == 0)
	{
		yyy = 0;
	}
	else if(err > 5)
	{
		yyy = 1;
	}
	else if(err < -5)
	{
		yyy = 2;
	}
	else if(err > 2)
	{
//		yyy = 3;
		yyy = 1;

	}
	else if(err < -2)
	{
//		yyy = 4;
		yyy = 2;

	}

	switch(yyy)
	{
		case 0:
			speed_stop();
			break;
		case 1:
			speed_set_without_pid (0,0,-3);
			motor_send();
			break;
		case 2:
			speed_set_without_pid(0,0,3);
			motor_send();
			break;
		case 3:
			speed_set_without_pid(0,0,-1);
			motor_send();
			break;
		case 4:
			speed_set_without_pid(0,0,1);
			motor_send();
			break;
	}

}

void qianjin(void)
{
	xun_flag = 3;
	speed_data [0]=-250+(suduout[0]+suduout [1]) / 2;
	speed_data [1]=-250+(suduout[0]+suduout [1]) / 2;
	speed_data [2]=250+(suduout[0]+suduout [1]) / 2;
	speed_data [3]=250+(suduout[0]+suduout [1]) / 2;

	for(i=0;i<4;i++)
	{
		motor_msg[i]=speed_data[i] + 32000;
		message[i][0]=motor_msg[i] %256;
		message[i][1]=motor_msg[i] /256;
	}
	motor_send ();

}
void houtui(void)  //寻迹移动，速度较快
{
	xun_flag =3;
	speed_data [0]=250+(suduout[0]+suduout [1]) / 2;
	speed_data [1]=250+(suduout[0]+suduout [1]) / 2;
	speed_data [2]=-250+(suduout[0]+suduout [1]) / 2;
	speed_data [3]=-250+(suduout[0]+suduout [1]) / 2;

	for(i=0;i<4;i++)
	{
		motor_msg[i]=speed_data[i] + 32000;
		message[i][0]=motor_msg[i] %256;
		message[i][1]=motor_msg[i] /256;
	}
	motor_send ();

}
void zuoyi(void)
{
	xun_flag =2;
	speed_data [0]=300+(suduout[0]+suduout [1]) / 2;
	speed_data [1]=-300+(suduout[0]+suduout [1]) / 2;
	speed_data [2]=-300+(suduout[0]+suduout [1]) / 2;
	speed_data [3]=300+(suduout[0]+suduout [1]) / 2;

	for(i=0;i<4;i++)
	{
		motor_msg[i]=speed_data[i] + 32000;
		message[i][0]=motor_msg[i] %256;
		message[i][1]=motor_msg[i] /256;
	}
	motor_send ();

}
void youyi(void)
{
	xun_flag =2;
	speed_data [0]=-300+(suduout[0]+suduout [1]) / 2;
	speed_data [1]=300+(suduout[0]+suduout [1]) / 2;
	speed_data [2]=300+(suduout[0]+suduout [1]) / 2;
	speed_data [3]=-300+(suduout[0]+suduout [1]) / 2;

	for(i=0;i<4;i++)
	{
		motor_msg[i]=speed_data[i] + 32000;
		message[i][0]=motor_msg[i] %256;
		message[i][1]=motor_msg[i] /256;
	}
	motor_send ();

}

void move_ER(void)
{
	while( ( (tof[0] + tof[1]) / 2) < 37)    //移动至45cm处
	{
		qianjin_total();
	}

	migong_gezi (Point_0,Point_1);  //移动至2维码区
	speed_stop ();
	motor_send ();
	HAL_Delay (1000);

}
void move_first(void)
{
	migong_line (Point_1,Point_2);  //移动至物料区
	speed_stop ();
	motor_send ();
	HAL_Delay (200);

	while ((xunji[0] < 15 || xunji [0] > 30) && (xunji[2] < 15 || xunji [2] > 30)) //物料区位置微调
	{
		if((xunji [0] < 15) && (xunji[2] > 30 ))
		{
			zuoyi_half();
		}
		else
		{
			youyi_half ();
		}
	}

	while( tof[0] > 39 )  //物料区距离微调
	{
		houtui_half();
	}
	speed_stop();
	HAL_Delay(1000);
}
void move_second(void)
{
	time = 0;  //旋转
	time_flag[0] = 1;
	HAL_TIM_Base_Start_IT(&htim4 );
	while(time_flag[0])
	{
		speed_set_without_pid(0,0,3);
		motor_send();
	}
	HAL_TIM_Base_Stop_IT (&htim4 );
	speed_stop ();

	migong_line(Point_2,Point_3);  //粗加工区
	speed_stop ();
	motor_send ();
	HAL_Delay (500);

	while ((xunji[0] < 15 || xunji [0] > 30) && (xunji[2] < 15 || xunji [2] > 30)) //粗加工区位置微调
	{
		if((xunji [0] < 15) && (xunji[2] > 30 ))
		{
			zuoyi_half();
		}
		else
		{
			youyi_half ();
		}
	}

	while( tof[0] > 40 )  //粗加工距离调整
	{
		houtui_half();
	}
	speed_stop();
	HAL_Delay(500);
}
void move_third(void)
{
	while ((xunji[1] < 15 || xunji [1] > 30) && (xunji[3] < 15 || xunji [3] > 30))  //退后
	{
		qianjin_half ();
	}

	migong_line (Point_3,Point_4);  //移动转弯
	speed_stop ();
	motor_send ();

	while ((xunji[0] < 15 || xunji [0] > 30) && (xunji[2] < 15 || xunji [2] > 30))  //转弯对齐
	{
		if((xunji [0] < 15) && (xunji[2] > 30 ))
		{
			zuoyi_half();
		}
		else
		{
			youyi_half ();
		}
	}

	time_flag[1] = 1;   //旋转
	time = 0;
	HAL_TIM_Base_Start_IT(&htim4 );
	while(time_flag[1])
	{
		speed_set_without_pid(0,0,3);
		motor_send();
	}
	HAL_TIM_Base_Stop_IT (&htim4 );
	speed_stop ();
	HAL_Delay (100);

	migong_line (Point_4,Point_5);   //成品区
	speed_stop ();
	motor_send ();
	while ((xunji[0] < 15 || xunji [0] > 30) && (xunji[2] < 15 || xunji [2] > 30))  //成品区位置微调
	{
		if((xunji [0] < 15) && (xunji[2] > 30 ))
		{
			zuoyi_half();
		}
		else
		{
			youyi_half ();
		}
	}
	speed_stop();
	HAL_Delay(1000);
}
void move_fourth(void)
{
	migong_line (Point_5,Point_6);  //移动至转弯处
	speed_stop ();
	HAL_Delay (500);
	while ((xunji[1] < 15 || xunji [1] > 30) && (xunji[3] < 15 || xunji [3] > 30)) //转弯处对齐
	{
		if((xunji [1] > 30) && (xunji[3] < 15 ) )
		{
			qianjin_half();
		}
		else if((xunji [1] < 15) && (xunji[3] > 30 ))
		{
			houtui_half();
		}
	}

	time_flag[2] = 1;   //旋转
	time = 0;
	HAL_TIM_Base_Start_IT(&htim4 );
	while(time_flag[2])
	{
		speed_set_without_pid(0,0,7);
		motor_send();
	}
	HAL_TIM_Base_Stop_IT (&htim4 );
	speed_stop ();

	migong_line (Point_6,Point_7);
	speed_stop ();
	motor_send ();
//	HAL_Delay (500);

	while ((xunji[0] < 15 || xunji [0] > 30) && (xunji[2] < 15 || xunji [2] > 30))
	{
		if((xunji [0] < 15) && (xunji[2] > 30 ))
		{
			zuoyi_half();
		}
		else
		{
			youyi_half ();
		}
	}
	speed_stop();
	HAL_Delay (500);

	while( tof[0] > 40 )  //物料区微调
	{
		houtui_half();
	}
	speed_stop();
	HAL_Delay(1000);

}
void move_end(void)
{
	car .x =0;
	car .y =0;
	migong_line(Point_8 ,Point_9 );
	speed_stop ();
	motor_send ();
	HAL_Delay (500);

	while(tof[2] > 7)
	{
		youyi_total();
	}
	while(tof [0] > 6)
	{
		houtui_total ();
	}
	speed_stop();
}
void total(void)
{

//	LCD_ShowString (200,0,31,10,24,BLACK ,"on");
//	LCD_ShowNum (200,240,0,3,16,BLACK );
//
//	while(k210_state == 0)
//	{
//		HAL_UART_Receive_IT(&huart5, USART5_RX_BUF  ,12);	//串口接收中断，接收陀螺仪数据
//		HAL_UART_Transmit (&huart5 ,"123",3,0xff);
//		LCD_ShowNum (100,240,k210_state,3,16,BLACK );
//		if(QR_code_Order[0] != 0)
//		{
//			k210_state = 1;
//			break;
//		}
//	}

//	LCD_ShowNum (100,240,k210_state,3,16,BLACK );
//	HAL_GPIO_WritePin  (led_GPIO_Port ,led_Pin ,GPIO_PIN_RESET );
//	LCD_ShowNum (0,120,(uint32_t)QR_code_Order[0],3,16,BLACK );
//	LCD_ShowNum (45,120,(uint32_t)QR_code_Order[1],3,16,BLACK );
//	LCD_ShowNum (90,120,(uint32_t)QR_code_Order[2],3,16,BLACK );
//	LCD_ShowNum (0,150,(uint32_t)QR_code_Order[3],3,16,BLACK );
//	LCD_ShowNum (45,150,(uint32_t)QR_code_Order[4],3,16,BLACK );
//	LCD_ShowNum (90,150,(uint32_t)QR_code_Order[5],3,16,BLACK );
//显示二维码信息

//	HAL_Delay (1000);

//	while( k210_state == 1)
//	{
//		LCD_ShowNum (100,240,k210_state,3,16,BLACK );
//		HAL_TIM_Base_Start_IT(&htim5 ); //定时器2与3中断开启
//		LCD_ShowNum (0,120,(uint32_t)QR_code_Order[0],3,16,BLACK );
//		LCD_ShowNum (45,120,(uint32_t)QR_code_Order[1],3,16,BLACK );
//		LCD_ShowNum (90,120,(uint32_t)QR_code_Order[2],3,16,BLACK );
//		LCD_ShowNum (0,150,(uint32_t)QR_code_Order[3],3,16,BLACK );
//		LCD_ShowNum (45,150,(uint32_t)QR_code_Order[4],3,16,BLACK );
//		LCD_ShowNum (90,150,(uint32_t)QR_code_Order[5],3,16,BLACK );

//		LCD_ShowNum (0,0,Three[0],5,16,BLACK );
//		LCD_ShowNum (45,0,Three[1],5,16,BLACK );
//		LCD_ShowNum (90,0,Three[2],5,16,BLACK );
////显示二维码与 物块坐标

//		correct(Three);
////移动Z轴
//	}
//	HAL_TIM_Base_Stop_IT(&htim5 ); //定时器2与3中断开启

	 while(HAL_GPIO_ReadPin (key2_GPIO_Port ,key1_Pin ) == 0) //按键1开关
	 {

		LCD_ShowString (0,0,30,10,16,BLACK ,"off");

		LCD_ShowNum (50,50,yaw_931/100,1,16,BLACK );
		LCD_ShowNum (70,50,yaw_931/10 %10,1,16,BLACK );
		LCD_ShowNum (90,50,yaw_931%10,1,16,BLACK );

		LCD_ShowChar (80,100,USART1_RX_BUF[6],16,BLACK ,0);

		LCD_ShowNum (80,120,USART1_RX_BUF[6] - 0,3,16,BLACK );
		LCD_ShowNum (120,120,USART1_RX_BUF[7] - 0,3,16,BLACK );

		LCD_ShowNum (175,0,31,3,24,BLACK );

		LCD_ShowNum (80,150,xunji [0],3,16,BLACK );
		LCD_ShowNum (120,150,xunji [2],3,16,BLACK );
		LCD_ShowNum (20,200,tof[0],3,16,BLACK );
		LCD_ShowNum (90,200,tof[1],3,16,BLACK );
		LCD_ShowNum (160,200,tof[2],3,16,BLACK );
	 }

//运动开始
	 while(1)
	 {
		LCD_ShowString (0,0,31,10,16,BLACK ,"on");

/*运动至二维码区
*/
		move_ER();

/*机械臂伸出识别2维码
*/
//		CANx_SendExtData(0x00415010,ER_go,8);
//		HAL_Delay(5000);
//		CANx_SendExtData(0x00415010,ER_stop,8);//发送停止

/*等待二维码数据返回
开启定时器5中断，state = 0
*/
//		while(k210_state == 0)
//		{
//			HAL_UART_Transmit (&huart5 ,"123",3,0xff);
//			LCD_ShowNum (100,150,k210_state,3,16,BLACK );
//		}
//		HAL_GPIO_WritePin  (led_GPIO_Port ,led_Pin ,GPIO_PIN_RESET );
//		LCD_ShowNum (0,120,(uint32_t)QR_code_Order[0],3,16,BLACK );
//		LCD_ShowNum (45,120,(uint32_t)QR_code_Order[1],3,16,BLACK );
//		LCD_ShowNum (90,120,(uint32_t)QR_code_Order[2],3,16,BLACK );
//		LCD_ShowNum (0,150,(uint32_t)QR_code_Order[3],3,16,BLACK );
//		LCD_ShowNum (45,150,(uint32_t)QR_code_Order[4],3,16,BLACK );
//		LCD_ShowNum (90,150,(uint32_t)QR_code_Order[5],3,16,BLACK );

/*机械臂缩回
*/
//		CANx_SendExtData(0x00415010,ER_back ,8);
//		HAL_Delay(5000);
//		CANx_SendExtData(0x00415010,ER_back_stop ,8);//发送停止

		HAL_Delay(200);
/*移动物料区
*/
		move_first();

/*  舵机抓取
*/
//		CANx_SendExtData(0x00415010,first_left_up,8);
//		HAL_Delay(8000);
//		HAL_Delay(2000);
//		CANx_SendExtData(0x00415010,first_left_up_done,8);//发送停止
//
//		CANx_SendExtData(0x00415010,first_middle_up,8);
//		HAL_Delay(8000);
//		HAL_Delay(2000);
//		CANx_SendExtData(0x00415010,first_middle_up_done,8);//发送停止
//
//
//		CANx_SendExtData(0x00415010,first_right_up,8);
//		HAL_Delay(8000);
//		HAL_Delay(2000);
//		CANx_SendExtData(0x00415010,first_right_up_done,8);//发送停止

		HAL_Delay(1000);

/*移动粗加工区
*/
		move_second();

/* 粗加工放置
*/
//		CANx_SendExtData(0x00415010,second_left,8);
//		HAL_Delay(8000);
//		CANx_SendExtData(0x00415010,second_left_done,8);//发送停止
//
//		CANx_SendExtData(0x00415010,second_middle,8);
//		HAL_Delay(8000);
//		CANx_SendExtData(0x00415010,second_middle_done,8);//发送停止

//		CANx_SendExtData(0x00415010,second_right,8);
//		HAL_Delay(8000);
//		CANx_SendExtData(0x00415010,second_right_done,8);//发送停止
//
//		HAL_Delay(1000);

/*移动成品区
*/
		move_third();

/*  成品区放置
*/
//		CANx_SendExtData(0x00415010,third_left_up,8);
//		HAL_Delay(8000);
//		CANx_SendExtData(0x00415010,third_left_up_done,8);//发送停止

//		CANx_SendExtData(0x00415010,third_middle_up,8);
//		HAL_Delay(8000);
//		CANx_SendExtData(0x00415010,third_middle_up_done,8);//发送停止

//		CANx_SendExtData(0x00415010,third_right_up ,8);
//		HAL_Delay(8000);
//		CANx_SendExtData(0x00415010,third_right_up_done,8);//发送停止
//
//
//		HAL_Delay (1000);

/*移动原料区
*/
		move_fourth();

/*  舵机抓取
*/
//		CANx_SendExtData(0x00415010,first_left_down,8);
//		HAL_Delay(8000);
//		CANx_SendExtData(0x00415010,first_left_down_done,8);//发送停止
//
//		CANx_SendExtData(0x00415010,first_middle_down,8);
//		HAL_Delay(8000);
//		CANx_SendExtData(0x00415010,first_middle_down_done,8);//发送停止
//
//
//		CANx_SendExtData(0x00415010,first_right_down,8);
//		HAL_Delay(8000);
//		CANx_SendExtData(0x00415010,first_right_down_done,8);//发送停止
//
//		HAL_Delay (1000);

/*移动粗加工区
*/
		car.x = 6;
		car.y = 0;
		time_compare [0] = 30;
		move_second();
/* 粗加工放置
*/
//		CANx_SendExtData(0x00415010,second_left,8);
//		HAL_Delay(8000);
//		CANx_SendExtData(0x00415010,second_left_done,8);//发送停止
//
//		CANx_SendExtData(0x00415010,second_middle,8);
//		HAL_Delay(8000);
//		CANx_SendExtData(0x00415010,second_middle_done,8);//发送停止

//		CANx_SendExtData(0x00415010,second_right,8);
//		HAL_Delay(8000);
//		CANx_SendExtData(0x00415010,second_right_done,8);//发送停止
//
//		HAL_Delay(1000);

/*移动成品区
*/
		move_third();

/*  成品区放置
*/
//		CANx_SendExtData(0x00415010,third_left_down,8);
//		HAL_Delay(8000);
//		CANx_SendExtData(0x00415010,third_left_down_done,8);//发送停止

//		CANx_SendExtData(0x00415010,third_middle_down,8);
//		HAL_Delay(8000);
//		CANx_SendExtData(0x00415010,third_middle_down_done,8);//发送停止

//		CANx_SendExtData(0x00415010,third_right_down ,8);
//		HAL_Delay(8000);
//		CANx_SendExtData(0x00415010,third_right_down_done,8);//发送停止
//
//
//		HAL_Delay (1000);

/*移动结束
*/
		move_end();
//

		while(1)
		{
			HAL_GPIO_TogglePin (led_GPIO_Port ,led_Pin );
			HAL_Delay(500);
			LCD_ShowString (0,0,30,10,16,BLACK ," on");

			LCD_ShowNum (50,50,yaw_931/100,1,16,BLACK );
			LCD_ShowNum (70,50,yaw_931/10 %10,1,16,BLACK );
			LCD_ShowNum (90,50,yaw_931%10,1,16,BLACK );

			LCD_ShowChar (80,100,USART1_RX_BUF[6],16,BLACK ,0);

			LCD_ShowNum (80,120,USART1_RX_BUF[6] - 0,3,16,BLACK );
			LCD_ShowNum (120,120,USART1_RX_BUF[7] - 0,3,16,BLACK );

			LCD_ShowNum (80,150,xunji [0],3,16,BLACK );
			LCD_ShowNum (120,150,xunji [2],3,16,BLACK );
			LCD_ShowNum (20,200,tof[0],3,16,BLACK );
			LCD_ShowNum (90,200,tof[1],3,16,BLACK );
			LCD_ShowNum (160,200,tof[2],3,16,BLACK );
		}
	 }
}

/* USER CODE END 4 */

void Error_Handler(void)
{
  __disable_irq();
  while (1)
  {
  }
}
